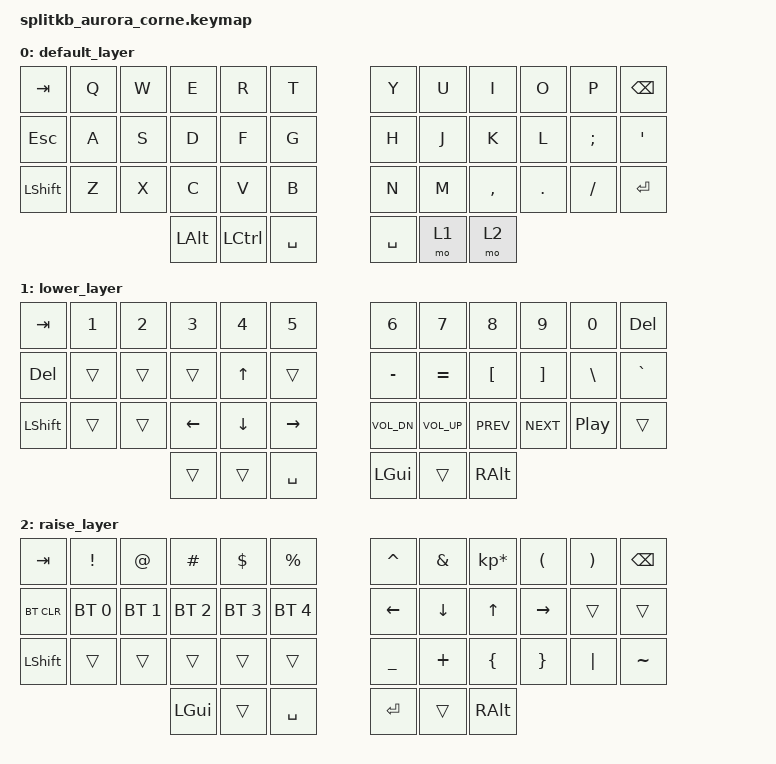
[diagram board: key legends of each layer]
/*
 * Copyright (c) 2020 The ZMK Contributors
 *
 * SPDX-License-Identifier: MIT
 */

#include <behaviors.dtsi>
#include <dt-bindings/zmk/keys.h>
#include <dt-bindings/zmk/bt.h>

/ {
        keymap {
                compatible = "zmk,keymap";

                default_layer {
// -----------------------------------------------------------------------------------------
// |  TAB |  Q  |  W  |  E  |  R  |  T  |   |  Y  |  U   |  I  |  O  |  P  | BKSP |
// | ESC  |  A  |  S  |  D  |  F  |  G  |   |  H  |  J   |  K  |  L  |  ;  |  '   |
// | SHFT |  Z  |  X  |  C  |  V  |  B  |   |  N  |  M   |  ,  |  .  |  /  | ENT  |
//                    | LALT| CTRL | SPC|   | SPC | LWR  | RSE |
                        bindings = <
   &kp TAB   &kp Q &kp W &kp E &kp R &kp T   &kp Y &kp U  &kp I     &kp O   &kp P    &kp BSPC
   &kp ESC   &kp A &kp S &kp D &kp F &kp G   &kp H &kp J  &kp K     &kp L   &kp SEMI &kp SQT
   &kp LSHFT &kp Z &kp X &kp C &kp V &kp B   &kp N &kp M  &kp COMMA &kp DOT &kp FSLH &kp RET
                  &kp LALT &kp LCTRL &kp SPACE   &kp SPACE &mo 1 &mo 2
                        >;
                };
                lower_layer {
// -----------------------------------------------------------------------------------------
// |  TAB |  1  |  2  |  3  |  4  |  5  |   |  6  |  7  |  8  |  9  |  0  | BKSP |
// | BTCLR| BT1 | BT2 | BT3 | BT4 | BT5 |   | LFT | DWN |  UP | RGT |     |      |
// | SHFT |     |     |     |     |     |   |     |     |     |     |     |      |
//                    | GUI |     | SPC |   | ENT |     | ALT |
                        bindings = <
   &kp TAB    &kp N1       &kp N2       &kp N3       &kp N4       &kp N5         &kp N6        &kp N7        &kp N8          &kp N9       &kp N0       &kp DEL
   &kp DEL    &trans       &trans       &trans       &kp UP       &trans         &kp MINUS     &kp EQUAL     &kp LBKT        &kp RBKT     &kp BSLH     &kp GRAVE
   &kp LSHFT  &trans       &trans       &kp LEFT     &kp DOWN     &kp RIGHT         &kp C_VOL_DN  &kp C_VOL_UP  &kp C_PREV      &kp C_NEXT   &kp C_PP     &trans
                                    &trans     &trans       &kp SPACE          &kp LGUI       &trans        &kp RALT
                        >;
                };

                raise_layer {
// -----------------------------------------------------------------------------------------
// |  TAB |  !  |  @  |  #  |  $  |  %  |   |  ^  |  &  |  *  |  (  |  )  | BKSP |
// | BTCLR| BT1 | BT2 | BT3 | BT4 | BT5 |   | LFT | DWN |  UP | RGT |     |      |
// | SHFT |     |     |     |     |     |   |  _  |  +  |  {  |  }  | "|" |  ~   |
//                    | GUI |     | SPC |   | ENT |     | ALT |
                        bindings = <
   &kp  TAB  &kp EXCL &kp AT &kp HASH &kp DLLR &kp PRCNT   &kp CARET &kp AMPS  &kp KP_MULTIPLY &kp LPAR &kp RPAR &kp BSPC
   &bt BT_CLR &bt BT_SEL 0 &bt BT_SEL 1 &bt BT_SEL 2 &bt BT_SEL 3 &bt BT_SEL 4   &kp LEFT &kp DOWN &kp UP &kp RIGHT &trans &trans
   &kp LSHFT &trans   &trans &trans   &trans   &trans      &kp UNDER &kp PLUS  &kp LBRC        &kp RBRC &kp PIPE &kp TILDE
                             &kp LGUI &trans   &kp SPACE   &kp RET   &trans    &kp RALT
                        >;
                };
        };
};
